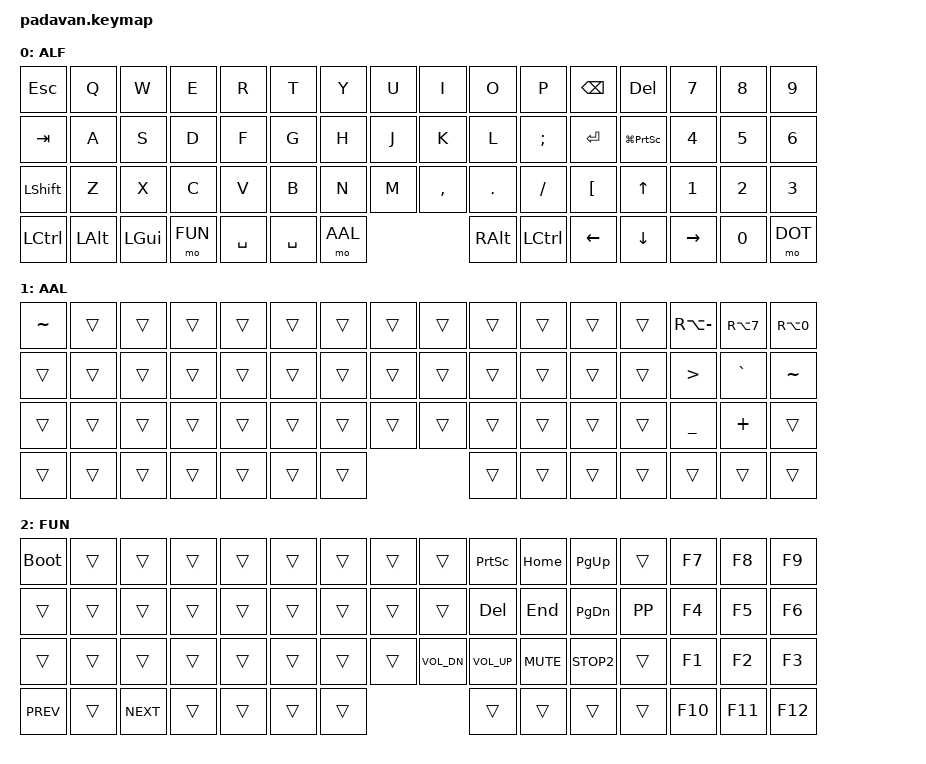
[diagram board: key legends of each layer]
#include <behaviors.dtsi>
#include <dt-bindings/zmk/keys.h>
#include <dt-bindings/zmk/outputs.h>

#define ALF 0
#define AAL 1
#define FUN 2

//&lt {
//    quick_tap_ms = <200>;
//};
//
//&caps_word {
//    continue-list = <UNDERSCORE MINUS BSPC LSHFT RSHFT>;
//};

//#define SCROT LG(PRINTSCREEN)



// padavan key numbers
//  ______________________________________________________________________________________
// |  0 |  1 |  2 |  3 |  4 |  5 |  6 |  7 |  8 |  9 | 10 |  11   | | 12 | | 13 | 14 | 15 |
// |  16 | 17 | 18 | 19 | 20 | 21 | 22 | 23 | 24 | 25 | 26 |  27  | | 28 | | 29 | 30 | 31 |
// |  32   | 33 | 34 | 35 | 36 | 37 | 38 | 39 | 40 | 41 | 42 | 43 | | 44 | | 45 | 46 | 47 |
// | 48 | 49 | 50 | 51 ||   52   ||    53    || 54 | 55 | 56 | | 57 | 58 | 59 | | 60 | 61 |
// |______________________________________________________________________________________|

/ {

    keymap {
        compatible = "zmk,keymap";

        alphas {
            label = "ALF";

            bindings = <
                &kp ESC    &kp Q      &kp W      &kp E      &kp R      &kp T      &kp Y      &kp U      &kp I      &kp O      &kp P      &kp BSPC   &kp DEL              &kp N7     &kp N8      &kp N9
                &kp TAB    &kp A      &kp S      &kp D      &kp F      &kp G      &kp H      &kp J      &kp K      &kp L      &kp SEMI   &kp RET    &kp LG(PRINTSCREEN)  &kp N4     &kp N5      &kp N6
      	        &kp LSHFT  &kp Z      &kp X      &kp C      &kp V      &kp B      &kp N      &kp M      &kp COMMA  &kp DOT    &kp FSLH   &kp LBKT   &kp UP               &kp N1     &kp N2      &kp N3
                &kp LCTRL  &kp LALT   &kp LGUI         &mo FUN  &kp SPACE  &kp SPACE  &mo AAL           &kp RALT  &kp LCTRL              &kp LEFT   &kp DOWN   &kp RIGHT            &kp N0      &mo DOT
            >;
        };
        altalt {
            label = "AAL";

            bindings = <
                &kp TILDE     &trans     &trans     &trans     &trans     &trans     &trans     &trans     &trans     &trans     &trans     &trans     &trans        &kp RA(MINUS) &kp RA(N7)   &kp RA(N0)
                &trans     &trans     &trans     &trans     &trans     &trans     &trans     &trans     &trans     &trans     &trans     &trans     &trans        &kp GT        &kp GRAVE    &kp TILDE
      	        &trans     &trans     &trans     &trans     &trans     &trans     &trans     &trans     &trans     &trans     &trans     &trans     &trans        &kp UNDER     &kp PLUS     &trans
                &trans     &trans     &trans           &trans  &trans  &trans  &trans           &trans     &trans     &trans     &trans        &trans        &trans       &trans
            >;
        };
        function {
            label = "FUN";

            bindings = <
                &bootloader &trans     &trans     &trans     &trans     &trans     &trans     &trans     &trans     &kp PSCRN     &kp HOME     &kp PG_UP     &trans     &kp F7     &kp F8      &kp F9
                &trans      &trans     &trans     &trans     &trans     &trans     &trans     &trans     &trans     &kp DEL     &kp END     &kp PG_DN     &kp K_PP     &kp F4     &kp F5      &kp F6
      	        &trans      &trans     &trans     &trans     &trans     &trans     &trans     &trans     &kp K_VOL_DN     &kp K_VOL_UP     &kp K_MUTE     &kp K_STOP2     &trans     &kp F1     &kp F2      &kp F3
                &kp K_PREV      &trans     &kp K_NEXT            &trans     &trans  &trans     &trans            &trans     &trans     &trans     &trans     &kp F10    &kp F11     &kp F12
            >;
        };

    };
};

//  ______________________________________________________________________________________
// |  0 |  1 |  2 |  3 |  4 |  5 |  6 |  7 |  8 |  9 | 10 |  11   | | 12 | | 13 | 14 | 15 |
// |  16 | 17 | 18 | 19 | 20 | 21 | 22 | 23 | 24 | 25 | 26 |  27  | | 28 | | 29 | 30 | 31 |
// |  32   | 33 | 34 | 35 | 36 | 37 | 38 | 39 | 40 | 41 | 42 | 43 | | 44 | | 45 | 46 | 47 |
// | 48 | 49 | 50 | 51 ||   52   ||    53    || 54 | 55 | 56 | | 57 | 58 | 59 | | 60 | 61  |
// |______________________________________________________________________________________|
// copy empty map:
////             |  0       |  1       |  2       |  3       |  4       |  5       |  6       |  7       |  8       |  9       | 10       |  11     || 12      || 13       | 14        | 15        |
//                &trans     &trans     &trans     &trans     &trans     &trans     &trans     &trans     &trans     &trans     &trans     &trans     &trans     &trans     &trans      &trans
////             | 16       | 17       | 18       | 19       | 20       | 21       | 22       | 23       | 24       | 25       | 26       |  27     || 28      || 29       | 30        | 31        |
//                &trans     &trans     &trans     &trans     &trans     &trans     &trans     &trans     &trans     &trans     &trans     &trans     &trans     &trans     &trans      &trans
////             | 32       | 33       | 34       | 35       | 36       | 37       | 38       | 39       | 40       | 41       | 42       |  43     || 44      || 45       | 46        | 47        |
//      	        &trans     &trans     &trans     &trans     &trans     &trans     &trans     &trans     &trans     &trans     &trans     &trans     &trans     &trans     &trans      &trans
////             | 48       | 49       | 50      ||                       51                                       || 52       | 53       || 54      | 55       | 56      || 57        | 58        |
//                &trans     &trans     &trans                           &trans                                      &trans     &trans     &trans     &trans     &trans     &trans      &trans
